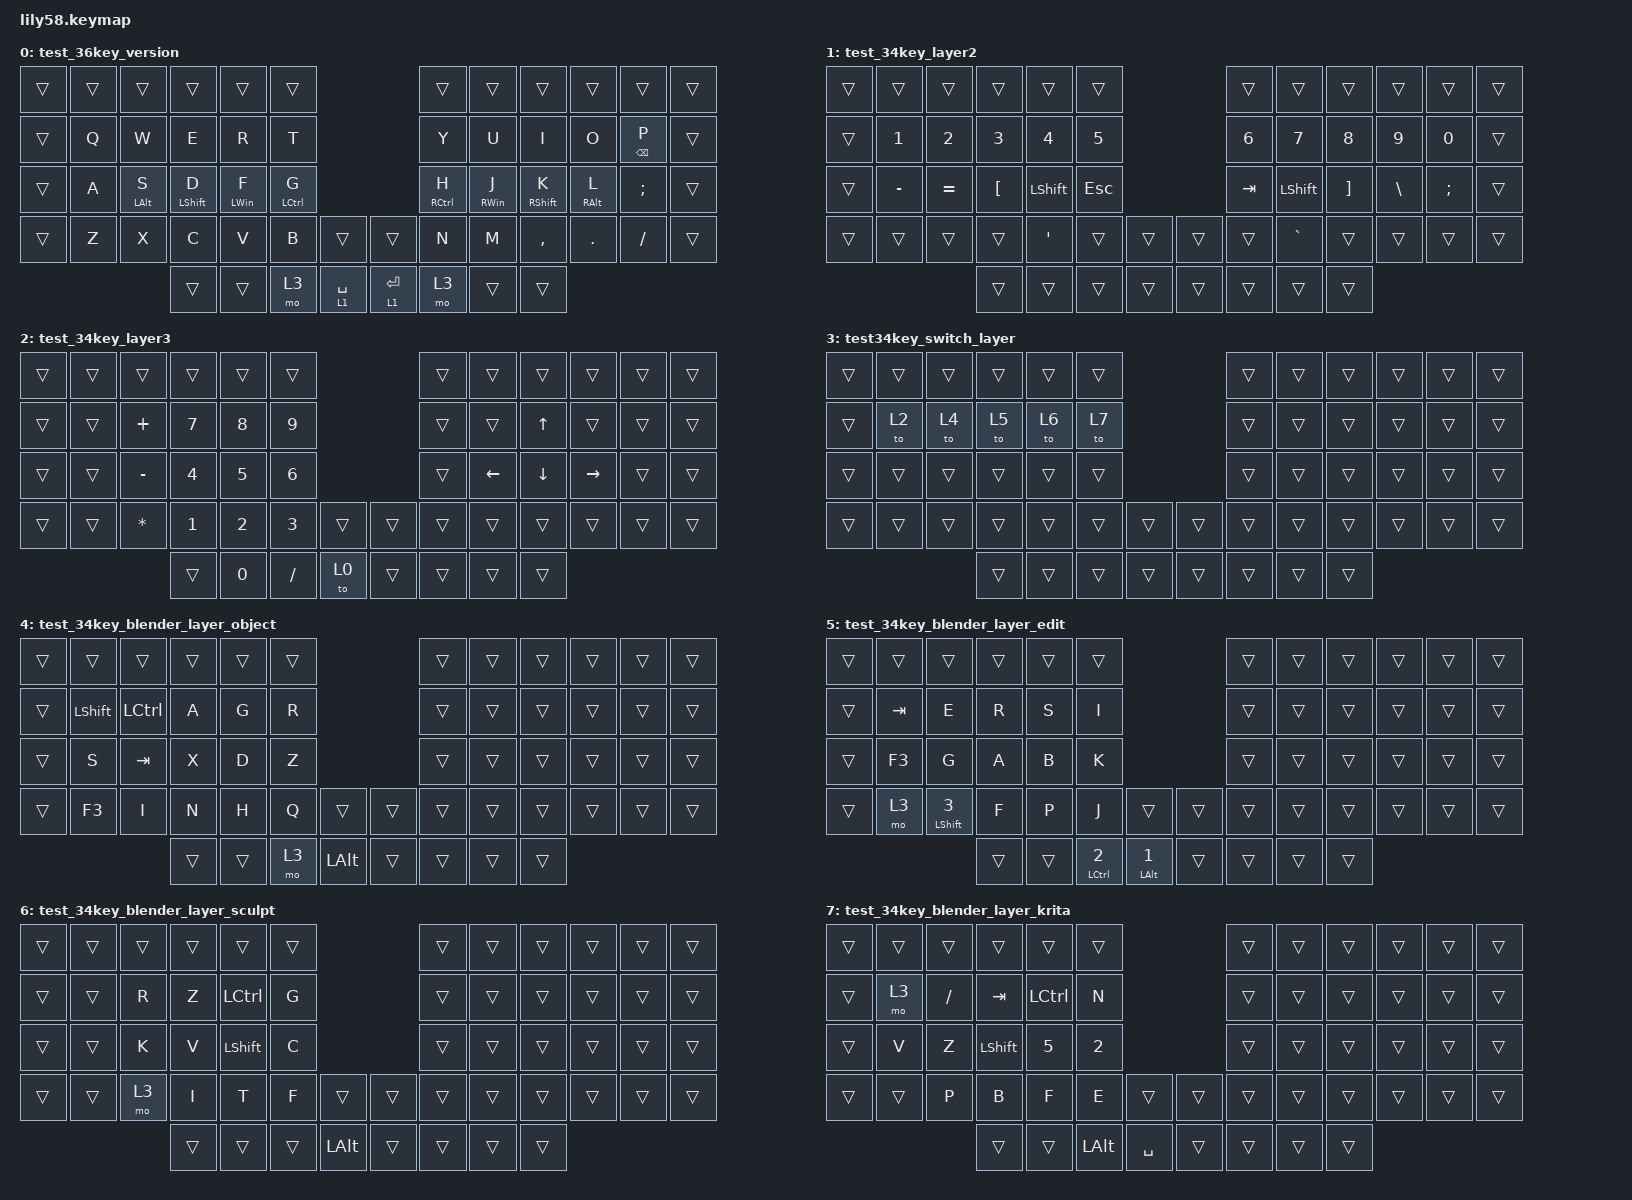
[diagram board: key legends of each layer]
/*
 * Copyright (c) 2020 The ZMK Contributors
 *
 * SPDX-License-Identifier: MIT
 */

#include <behaviors.dtsi>
#include <dt-bindings/zmk/keys.h>

/ {
    keymap {
        compatible = "zmk,keymap";

        test_36key_version {
            bindings = <
&trans  &trans  &trans          &trans            &trans          &trans                                 &trans       &trans           &trans             &trans           &trans           &trans
&trans  &kp Q   &kp W           &kp E             &kp R           &kp T                                  &kp Y        &kp U            &kp I              &kp O            &mt BACKSPACE P  &trans
&trans  &kp A   &mt LEFT_ALT S  &mt LEFT_SHIFT D  &mt LEFT_WIN F  &mt LCTRL G                            &mt RCTRL H  &mt RIGHT_WIN J  &mt RIGHT_SHIFT K  &mt RIGHT_ALT L  &kp SEMI         &trans
&trans  &kp Z   &kp X           &kp C             &kp V           &kp B        &trans         &trans     &kp N        &kp M            &kp COMMA          &kp DOT          &kp FSLH         &trans
                                &trans            &trans          &mo 3        &lt 1 SPACE    &lt 1 RET  &mo 3        &trans           &trans
            >;
        };

        test_34key_layer2 {
            bindings = <
&trans  &trans     &trans     &trans    &trans     &trans                     &trans   &trans     &trans    &trans    &trans        &trans
&trans  &kp N1     &kp N2     &kp N3    &kp N4     &kp N5                     &kp N6   &kp N7     &kp N8    &kp N9    &kp NUMBER_0  &trans
&trans  &kp MINUS  &kp EQUAL  &kp LBKT  &kp LSHFT  &kp ESC                    &kp TAB  &kp LSHFT  &kp RBKT  &kp BSLH  &kp SEMI      &trans
&trans  &trans     &trans     &trans    &kp SQT    &trans   &trans    &trans  &trans   &kp GRAVE  &trans    &trans    &trans        &trans
                              &trans    &trans     &trans   &trans    &trans  &trans   &trans     &trans
            >;
        };

        test_34key_layer3 {
            bindings = <
&trans  &trans  &trans     &trans  &trans  &trans                      &trans  &trans    &trans    &trans     &trans  &trans
&trans  &trans  &kp PLUS   &kp N7  &kp N8  &kp N9                      &trans  &trans    &kp UP    &trans     &trans  &trans
&trans  &trans  &kp MINUS  &kp N4  &kp N5  &kp N6                      &trans  &kp LEFT  &kp DOWN  &kp RIGHT  &trans  &trans
&trans  &trans  &kp STAR   &kp N1  &kp N2  &kp N3    &trans    &trans  &trans  &trans    &trans    &trans     &trans  &trans
                           &trans  &kp N0  &kp FSLH  &to 0     &trans  &trans  &trans    &trans
            >;
        };

        test34key_switch_layer {
            bindings = <
&trans  &trans  &trans  &trans  &trans  &trans                    &trans  &trans  &trans  &trans  &trans  &trans
&trans  &to 2   &to 4   &to 5   &to 6   &to 7                     &trans  &trans  &trans  &trans  &trans  &trans
&trans  &trans  &trans  &trans  &trans  &trans                    &trans  &trans  &trans  &trans  &trans  &trans
&trans  &trans  &trans  &trans  &trans  &trans  &trans    &trans  &trans  &trans  &trans  &trans  &trans  &trans
                        &trans  &trans  &trans  &trans    &trans  &trans  &trans  &trans
            >;
        };

        test_34key_blender_layer_object {
            bindings = <
&trans  &trans     &trans     &trans  &trans  &trans                      &trans  &trans  &trans  &trans  &trans  &trans
&trans  &kp LSHFT  &kp LCTRL  &kp A   &kp G   &kp R                       &trans  &trans  &trans  &trans  &trans  &trans
&trans  &kp S      &kp TAB    &kp X   &kp D   &kp Z                       &trans  &trans  &trans  &trans  &trans  &trans
&trans  &kp F3     &kp I      &kp N   &kp H   &kp Q   &trans      &trans  &trans  &trans  &trans  &trans  &trans  &trans
                              &trans  &trans  &mo 3   &kp LALT    &trans  &trans  &trans  &trans
            >;
        };

        test_34key_blender_layer_edit {
            bindings = <
&trans  &trans   &trans              &trans  &trans  &trans                                           &trans  &trans  &trans  &trans  &trans  &trans
&trans  &kp TAB  &kp E               &kp R   &kp S   &kp I                                            &trans  &trans  &trans  &trans  &trans  &trans
&trans  &kp F3   &kp G               &kp A   &kp B   &kp K                                            &trans  &trans  &trans  &trans  &trans  &trans
&trans  &mo 3    &mt LSHFT NUMBER_3  &kp F   &kp P   &kp J               &trans               &trans  &trans  &trans  &trans  &trans  &trans  &trans
                                     &trans  &trans  &mt LCTRL NUMBER_2  &mt LALT NUMBER_1    &trans  &trans  &trans  &trans
            >;
        };

        test_34key_blender_layer_sculpt {
            bindings = <
&trans  &trans  &trans  &trans  &trans     &trans                      &trans  &trans  &trans  &trans  &trans  &trans
&trans  &trans  &kp R   &kp Z   &kp LCTRL  &kp G                       &trans  &trans  &trans  &trans  &trans  &trans
&trans  &trans  &kp K   &kp V   &kp LSHFT  &kp C                       &trans  &trans  &trans  &trans  &trans  &trans
&trans  &trans  &mo 3   &kp I   &kp T      &kp F   &trans      &trans  &trans  &trans  &trans  &trans  &trans  &trans
                        &trans  &trans     &trans  &kp LALT    &trans  &trans  &trans  &trans
            >;
        };

        test_34key_blender_layer_krita {
            bindings = <
&trans  &trans  &trans    &trans     &trans     &trans                         &trans  &trans  &trans  &trans  &trans  &trans
&trans  &mo 3   &kp FSLH  &kp TAB    &kp LCTRL  &kp N                          &trans  &trans  &trans  &trans  &trans  &trans
&trans  &kp V   &kp Z     &kp LSHFT  &kp N5     &kp N2                         &trans  &trans  &trans  &trans  &trans  &trans
&trans  &trans  &kp P     &kp B      &kp F      &kp E     &trans       &trans  &trans  &trans  &trans  &trans  &trans  &trans
                          &trans     &trans     &kp LALT  &kp SPACE    &trans  &trans  &trans  &trans
            >;
        };
    };
};
